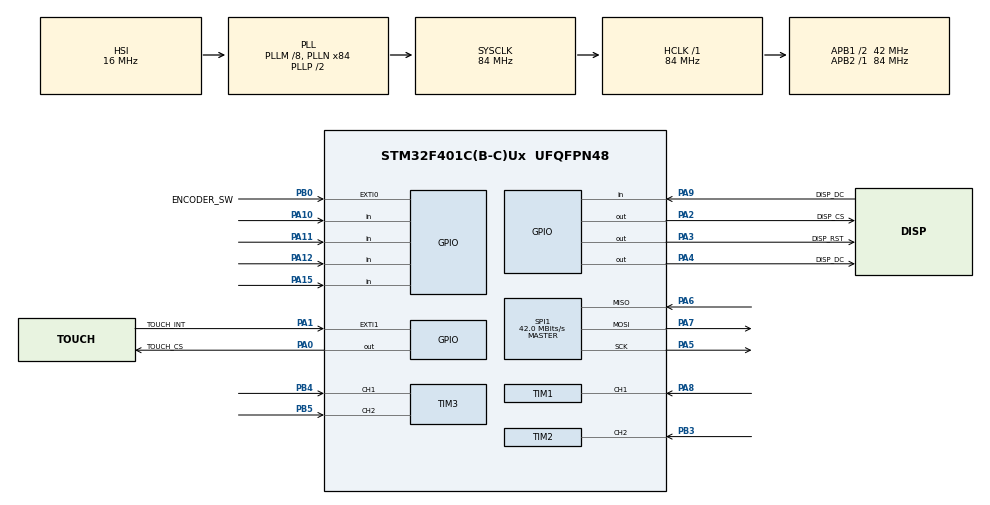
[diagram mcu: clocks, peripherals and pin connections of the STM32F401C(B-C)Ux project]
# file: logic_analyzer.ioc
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Dma.Request0=TIM1_CH1
Dma.Request1=TIM2_CH2/CH4
Dma.Request2=SPI1_TX
Dma.SPI1_TX.2.Direction=DMA_MEMORY_TO_PERIPH
Dma.SPI1_TX.2.FIFOMode=DMA_FIFOMODE_DISABLE
Dma.SPI1_TX.2.Instance=DMA2_Stream3
Dma.SPI1_TX.2.MemDataAlignment=DMA_MDATAALIGN_BYTE
Dma.SPI1_TX.2.MemInc=DMA_MINC_ENABLE
Dma.SPI1_TX.2.Mode=DMA_NORMAL
Dma.SPI1_TX.2.PeriphDataAlignment=DMA_PDATAALIGN_BYTE
Dma.SPI1_TX.2.PeriphInc=DMA_PINC_DISABLE
Dma.SPI1_TX.2.Priority=DMA_PRIORITY_LOW
Dma.TIM1_CH1.0.Direction=DMA_PERIPH_TO_MEMORY
Dma.TIM1_CH1.0.FIFOMode=DMA_FIFOMODE_DISABLE
Dma.TIM1_CH1.0.Instance=DMA2_Stream1
Dma.TIM1_CH1.0.MemDataAlignment=DMA_MDATAALIGN_BYTE
Dma.TIM1_CH1.0.MemInc=DMA_MINC_ENABLE
Dma.TIM1_CH1.0.Mode=DMA_NORMAL
Dma.TIM1_CH1.0.PeriphDataAlignment=DMA_PDATAALIGN_BYTE
Dma.TIM1_CH1.0.PeriphInc=DMA_PINC_DISABLE
Dma.TIM1_CH1.0.Priority=DMA_PRIORITY_LOW
Dma.TIM2_CH2/CH4.1.Direction=DMA_PERIPH_TO_MEMORY
Dma.TIM2_CH2/CH4.1.FIFOMode=DMA_FIFOMODE_DISABLE
Dma.TIM2_CH2/CH4.1.Instance=DMA1_Stream6
Dma.TIM2_CH2/CH4.1.MemDataAlignment=DMA_MDATAALIGN_WORD
Dma.TIM2_CH2/CH4.1.MemInc=DMA_MINC_ENABLE
Dma.TIM2_CH2/CH4.1.Mode=DMA_NORMAL
Dma.TIM2_CH2/CH4.1.PeriphDataAlignment=DMA_PDATAALIGN_WORD
Dma.TIM2_CH2/CH4.1.PeriphInc=DMA_PINC_DISABLE
Dma.TIM2_CH2/CH4.1.Priority=DMA_PRIORITY_LOW
Mcu.Family=STM32F4
Mcu.Name=STM32F401C(B-C)Ux
Mcu.Package=UFQFPN48
NVIC.DMA1_Stream6_IRQn=true\:0\:0\:false\:false\:true\:false\:true\:true
NVIC.DMA2_Stream1_IRQn=true\:0\:0\:false\:false\:true\:false\:true\:true
NVIC.DMA2_Stream3_IRQn=true\:0\:0\:false\:false\:true\:false\:true\:true
NVIC.EXTI0_IRQn=true\:0\:0\:false\:false\:true\:true\:true\:true
NVIC.EXTI1_IRQn=true\:0\:0\:false\:false\:true\:true\:true\:true
NVIC.PriorityGroup=NVIC_PRIORITYGROUP_4
NVIC.SPI1_IRQn=true\:0\:0\:false\:false\:true\:true\:true\:true
PA0-WKUP.GPIO_Label=TOUCH_CS
PA0-WKUP.Signal=GPIO_Output
PA1.GPIO_Label=TOUCH_INT
PA1.GPIO_PuPd=GPIO_PULLUP
PA1.Signal=GPXTI1
PA10.Signal=GPIO_Input
PA11.Signal=GPIO_Input
PA12.Signal=GPIO_Input
PA15.Signal=GPIO_Input
PA2.GPIO_Label=DISP_CS
PA2.Signal=GPIO_Output
PA3.GPIO_Label=DISP_RST
PA3.Signal=GPIO_Output
PA4.GPIO_Label=DISP_DC
PA4.Signal=GPIO_Output
PA5.Mode=Full_Duplex_Master
PA5.Signal=SPI1_SCK
PA6.Mode=Full_Duplex_Master
PA6.Signal=SPI1_MISO
PA7.Mode=Full_Duplex_Master
PA7.Signal=SPI1_MOSI
PA8.Signal=S_TIM1_CH1
PA9.GPIO_Label=DISP_DC
PA9.Signal=GPIO_Input
PB0.GPIO_Label=ENCODER_SW
PB0.GPIO_PuPd=GPIO_PULLUP
PB0.Signal=GPXTI0
PB3.Signal=S_TIM2_CH2
PB4.Signal=S_TIM3_CH1
PB5.Signal=S_TIM3_CH2
ProjectManager.HeapSize=0x200
ProjectManager.StackSize=0x400
ProjectManager.TargetToolchain=STM32CubeIDE
RCC.48MHZClocksFreq_Value=42000000
RCC.AHBFreq_Value=84000000
RCC.APB1CLKDivider=RCC_HCLK_DIV2
RCC.APB1Freq_Value=42000000
RCC.APB1TimFreq_Value=84000000
RCC.APB2Freq_Value=84000000
RCC.APB2TimFreq_Value=84000000
RCC.CortexFreq_Value=84000000
RCC.HCLKFreq_Value=84000000
RCC.HSE_VALUE=25000000
RCC.HSI_VALUE=16000000
RCC.LSE_VALUE=32768
RCC.PLLM=8
RCC.PLLN=84
RCC.SYSCLKFreq_VALUE=84000000
RCC.SYSCLKSource=RCC_SYSCLKSOURCE_PLLCLK
RCC.VCOOutputFreq_Value=168000000
SH.S_TIM1_CH1.0=TIM1_CH1,Input_Capture1_from_TI1
SH.S_TIM2_CH2.0=TIM2_CH2,Input_Capture2_from_TI2
SH.S_TIM3_CH1.0=TIM3_CH1,Encoder_Interface
SH.S_TIM3_CH2.0=TIM3_CH2,Encoder_Interface
SPI1.CalculateBaudRate=42.0 MBits/s
SPI1.Direction=SPI_DIRECTION_2LINES
SPI1.Mode=SPI_MODE_MASTER
SPI1.VirtualType=VM_MASTER
TIM1.Channel-Input_Capture1_from_TI1=TIM_CHANNEL_1
TIM1.ICPolarity_CH1=TIM_INPUTCHANNELPOLARITY_BOTHEDGE
TIM1.Prescaler=83
TIM2.Channel-Input_Capture2_from_TI2=TIM_CHANNEL_2
TIM2.Prescaler=83
VP_TIM1_VS_ClockSourceINT.Mode=Internal
VP_TIM2_VS_ClockSourceINT.Mode=Internal
board=custom

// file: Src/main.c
/* USER CODE BEGIN Header */
/**
  ******************************************************************************
  * @archivo           : main.c
  * @brief          : Main program body
  ******************************************************************************
  * @attention
  *
  * Copyright (c) 2026 STMicroelectronics.
  * All rights reserved.
  *
  * This software is licensed under terms that can be found in the LICENSE archivo
  * in the root directory of this software component.
  * If no LICENSE archivo comes with this software, it is provided AS-IS.
  *
  ******************************************************************************
  */
/* USER CODE END Header */
// inclusiones
#include "main.h"

// inclusiones privadas
/* USER CODE BEGIN Includes */

#include "maquina_estado.h"
#include "uart.h"
#include "captura.h"
#include "config_analizador.h"
#include "disp_driver.h"
#include "touch_driver.h"
#include "interface.h"

/* USER CODE END Includes */

// typedef privado

// definicion privada

// macro privada

// variables privadas
SPI_HandleTypeDef hspi1;
DMA_HandleTypeDef hdma_spi1_tx;

TIM_HandleTypeDef htim1;
TIM_HandleTypeDef htim2;
TIM_HandleTypeDef htim3;
DMA_HandleTypeDef hdma_tim1_ch1;
DMA_HandleTypeDef hdma_tim2_ch2_ch4;

/* USER CODE BEGIN PV */

volatile uint32_t tiempos_buffer[MAX_NUM_MUESTRAS];
volatile uint16_t estados_buffer[MAX_NUM_MUESTRAS];
/* USER CODE END PV */

// prototipos funciones privadas
void SystemClock_Config(void);
static void MX_GPIO_Init(void);
static void MX_DMA_Init(void);
static void MX_TIM1_Init(void);

static void MX_TIM2_Init(void);
static void MX_TIM3_Init(void);
static void MX_SPI1_Init(void);

// codigo de usuario privado
/* USER CODE BEGIN 0 */

void Ejecutar_POST(void) {
    // 1. Mostrar pantalla de inicio
    DISP_LlenarRect(0, 0, DISP_WIDTH, DISP_HEIGHT, COLOR_BG_DARK);
    DISP_DibujarTextoCentrado(0, 40, DISP_WIDTH, 50, "ANALIZADOR LOGICO", COLOR_UI_ACCENT, COLOR_BG_DARK);
    DISP_DibujarTextoCentrado(0, 80, DISP_WIDTH, 20, "TDII - 2026", COLOR_SIG_LABEL, COLOR_BG_DARK);
    DISP_DibujarTextoCentrado(0, 110, DISP_WIDTH, 20, "Desarrollado por:", COLOR_SIG_LABEL, COLOR_BG_DARK);
    DISP_DibujarTextoCentrado(0, 130, DISP_WIDTH, 20, "Juan Ignacio Cati", COLOR_SIG_LABEL, COLOR_BG_DARK);
    DISP_DibujarTextoCentrado(0, 150, DISP_WIDTH, 20, "Facundo Gimenez", COLOR_SIG_LABEL, COLOR_BG_DARK);

    DISP_DibujarTextoCentrado(0, 200, DISP_WIDTH, 20, "Ejecutando POST...", COLOR_UI_BTN_ACT, COLOR_BG_DARK);

    HAL_Delay(1000); // Mostrar pantalla inicialmente

    uint8_t post_fallo = 0;

    // --- PUNTO 1: Verificaciones del Nucleo ---
    if (SystemCoreClock != 84000000) {
        post_fallo = 1;
    }
    // Leer causa de reset (para debug o log, opcional en pantalla)
    uint32_t reset_cause = RCC->CSR;
    RCC->CSR |= RCC_CSR_RMVF; // Limpiar banderas de reset
    HAL_Delay(500);

    // --- PUNTO 4: Perifericos ---
    // Verificar que los relojes de DMA esten activos
    if ((RCC->AHB1ENR & RCC_AHB1ENR_DMA1EN) == 0 || (RCC->AHB1ENR & RCC_AHB1ENR_DMA2EN) == 0) {
        post_fallo = 1;
    }
    // SPI1 (Display usa SPI1)
    if ((RCC->APB2ENR & RCC_APB2ENR_SPI1EN) == 0) {
        post_fallo = 1;
    }
    HAL_Delay(500);

    // --- PUNTO 5: Especificos del Analizador ---
    // Verificar Timers 1, 2, 3
    if ((RCC->APB2ENR & RCC_APB2ENR_TIM1EN) == 0 ||
        (RCC->APB1ENR & RCC_APB1ENR_TIM2EN) == 0 ||
        (RCC->APB1ENR & RCC_APB1ENR_TIM3EN) == 0) {
        post_fallo = 1;
    }
    HAL_Delay(500);

    // Resultado final
    DISP_LlenarRect(0, 200, DISP_WIDTH, 30, COLOR_BG_DARK);
    if (post_fallo) {
        DISP_DibujarTextoCentrado(0, 200, DISP_WIDTH, 20, "POST ERROR!", COLOR_UI_REC, COLOR_BG_DARK);
        while(1); // Detener el sistema si falla el hardware critico
    } else {
        DISP_DibujarTextoCentrado(0, 200, DISP_WIDTH, 20, "POST OK!", COLOR_SIG_HIGH, COLOR_BG_DARK);
    }

    HAL_Delay(1000); // Dar tiempo a leer antes de ir al menu
}

bool Usuario_Presiono_Inicio(void) {
    extern volatile bool bandera_inicio_captura;
    if (bandera_inicio_captura) {
        bandera_inicio_captura = false;
        return true;
    }
    return false;
}

void Hardware_Configurar_Disparo(void) {
    if (config_global.flanco == 2) return; // ninguno

    // disparo software ultrarrapido por polling
    uint32_t mascara = (1 << config_global.pin_disparo);
    if (config_global.flanco == 1) {
        while((GPIOA->IDR & mascara) != 0) { } // bajada
    } else {
        while((GPIOA->IDR & mascara) == 0) { } // subida
    }
}

volatile uint8_t ocurrio_evento_toque = 0;

void HAL_GPIO_EXTI_Callback(uint16_t GPIO_Pin) {
    if (GPIO_Pin == TOUCH_INT_Pin) {
        ocurrio_evento_toque = 1;
    }
    if (GPIO_Pin == ENCODER_SW_Pin) {
        static uint32_t tiempo_presion = 0;
        uint32_t tiempo_actual = HAL_GetTick();
        if (HAL_GPIO_ReadPin(ENCODER_SW_GPIO_Port, ENCODER_SW_Pin) == GPIO_PIN_RESET) {
            tiempo_presion = tiempo_actual;
        } else {
              if (tiempo_actual - tiempo_presion > 1000) {
                  extern void AlPresionarLargoBotonEncoder(void);
                  AlPresionarLargoBotonEncoder();
              } else if (tiempo_actual - tiempo_presion > 50) {
                  extern void AlPresionarBotonEncoder(void);
                  AlPresionarBotonEncoder();
              }
        }
    }
}

void Actualizar_Pantalla_Y_Registro(void) {
    // 1. configuramos estructura de captura
    captura.canales_activos = 6;
    captura.muestras_totales = Config_ObtenerValorTamaño(conf.tamaño_buffer);

    // obtener etiquetas de la configuracion actual
    const ProtocolPinConfig_t *cfg = Config_ObtenerConfigPin(conf.protocolo);
    for (uint8_t ch = 0; ch < LOGIC_NUM_CHANNELS; ch++) {
        captura.etiquetas_canal[ch] = cfg->canales[ch].etiqueta;
    }

    // 2. extraer datos de estados_buffer al arreglo de interfaz
    for (uint16_t i = 0; i < captura.muestras_totales; i++) {
        uint16_t estado = estados_buffer[i];
        for (uint8_t ch = 0; ch < LOGIC_NUM_CHANNELS; ch++) {
            // suponemos que los canales corresponden a los primeros pines configurados
            // si estan en orden distinto, usar pin como mascara
            uint16_t mascara_pin = cfg->canales[ch].pin;
            captura.muestras[ch][i] = (estado & mascara_pin) ? 1 : 0;
        }
    }

    // 3. forzar refresco de vista de ondas
    extern uint32_t desplazamiento_t_visor;
    desplazamiento_t_visor = 0;
    visor_necesita_redibujo_completo = 1;
    extern bool ha_capturado;
    ha_capturado = true;
    estado_actual = STATE_MAIN_MENU;
    necesita_refresco = 1;
}

#define MAX_DECODED_CHARS 256
volatile uint8_t buffer_decodificado[MAX_DECODED_CHARS];
volatile uint32_t indice_decodificado = 0;

volatile uint32_t tiempos_inicio_decodificados[MAX_DECODED_CHARS];
volatile uint32_t tiempos_fin_decodificados[MAX_DECODED_CHARS];

void Guardar_Caracter_Decodificado(uint8_t c, uint32_t indice_inicio, uint32_t indice_fin) {
    if (indice_decodificado < MAX_DECODED_CHARS) {
        buffer_decodificado[indice_decodificado] = c;
        tiempos_inicio_decodificados[indice_decodificado] = tiempos_buffer[indice_inicio];
        tiempos_fin_decodificados[indice_decodificado] = tiempos_buffer[indice_fin];
        indice_decodificado++;
    }
}

void Guardar_Caracter_Decodificado_Con_Tiempos(uint8_t c, uint32_t indice_inicio, uint32_t indice_fin, uint32_t inicio_t, uint32_t fin_t) {
    if (indice_decodificado < MAX_DECODED_CHARS) {
        buffer_decodificado[indice_decodificado] = c;
        tiempos_inicio_decodificados[indice_decodificado] = inicio_t;
        tiempos_fin_decodificados[indice_decodificado] = fin_t;
        indice_decodificado++;
    }
}

/* USER CODE END 0 */

int main(void)
{

  // configuracion mcu

  // reinicio perifericos, inicializa flash y systick
  HAL_Init();

  // configurar reloj del sistema
  SystemClock_Config();

  // inicializa todos los perifericos configurados
  MX_GPIO_Init();
  MX_DMA_Init();
  MX_TIM1_Init();
  MX_TIM2_Init();
  MX_TIM3_Init();
  MX_SPI1_Init();
  /* USER CODE BEGIN 2 */
  config_global.protocolo.protocolo_activo = UART;
  config_global.protocolo.ajustes.uart.tasa_baudios = 9600;
  config_global.protocolo.ajustes.uart.bits_datos = 8;
  config_global.protocolo.ajustes.uart.paridad = UART_PARITY_SIN;
  config_global.protocolo.ajustes.uart.bits_parada = UART_STOPBITS_1;
  config_global.protocolo.ajustes.uart.lsb_primero = 1;
  config_global.protocolo.ajustes.uart.invertido = 0;

  config_global.protocolo.ajustes.spi.modo = SPI_MODE_0;
  config_global.protocolo.ajustes.spi.tamaño_datos = 8;
  config_global.protocolo.ajustes.spi.orden_bits = SPI_MSB_FIRST;
  // suponiendo que el disparo ocurre en el pin rx
  config_global.pin_disparo = 8; // pin 10 (pa10 = rx)

  Configurar_Disparo_Protocolo();
  DISP_Inicializar();
  TOUCH_Inicializar();

  // Ejecutar el POST (verificara nucleo, perifericos y timers de captura)
  Ejecutar_POST();

  DISP_LlenarRect(0, 0, 320, 240, COLOR_BG_DARK);
  // limpiar ram obsoleta
  indice_decodificado = 0;
  for (uint16_t i = 0; i < MAX_DECODED_CHARS; i++) {
      buffer_decodificado[i] = 0;
  }
  for (uint16_t i = 0; i < MAX_NUM_MUESTRAS; i++) estados_buffer[i] = 0;
  Actualizar_Pantalla_Y_Registro();
  /* USER CODE END 2 */

  // bucle infinito
  /* USER CODE BEGIN WHILE */
  while (1)
  {
    static uint32_t ultimo_conteo_encoder = 0;
    uint32_t conteo_encoder_actual = TIM3->CNT;
    if (conteo_encoder_actual != ultimo_conteo_encoder) {
        int16_t diferencia = (int16_t)conteo_encoder_actual - (int16_t)ultimo_conteo_encoder;
        if (diferencia >= 4) {
             extern void AlDesplazarEncoderDer(void);
             AlDesplazarEncoderDer();
             ultimo_conteo_encoder = conteo_encoder_actual;
        } else if (diferencia <= -4) {
             extern void AlDesplazarEncoderIzq(void);
             AlDesplazarEncoderIzq();
             ultimo_conteo_encoder = conteo_encoder_actual;
        }
    }

    Estado_FSM();

    // --- manejo del renderizado ui ---
    if (necesita_refresco) {
        switch (estado_actual) {
            case STATE_MAIN_MENU:
                Dibujar_MenuPrincipal();
                break;
            case STATE_VIEWER:
                Dibujar_Visor();
                break;
            case STATE_SETTINGS:
                Dibujar_Ajustes();
                break;
            case STATE_PROTOCOL_CONFIG:
                Dibujar_ConfigProtocolo();
                break;
            case STATE_TABLE_VIEW:
                Dibujar_VistaTabla();
                break;
        }
        necesita_refresco = 0;
    }

    // --- manejo logica tactil ---
    if (ocurrio_evento_toque || TS_State.esta_presionado || TS_State.recien_soltado) {
        TOUCH_Actualizar();

        uint16_t px = TS_State.x;
        uint16_t py = TS_State.y;
        View_t *vista_activa = &vistas[estado_actual];

        if (vista_activa->botones != NULL && vista_activa->conteoBotones > 0) {
            if (TS_State.esta_presionado) {
                for (uint8_t i = 0; i < vista_activa->conteoBotones; i++) {
                    Button_t *boton = &vista_activa->botones[i];
                    uint8_t estaba_activo = boton->estaActivo;

                    UI_ManejarActivo(boton, px, py);

                    if (boton->estaActivo != estaba_activo) {
                        UI_DibujarBoton(boton);
                    }
                }
            }

            if (TS_State.recien_soltado) {
                for (uint8_t i = 0; i < vista_activa->conteoBotones; i++) {
                    Button_t *boton = &vista_activa->botones[i];
                    if (boton->estaActivo) {
                        boton->estaActivo = 0;
                        UI_DibujarBoton(boton);
                        if (boton->alClic != NULL) {
                            boton->alClic();
                        }
                    }
                }
                ocurrio_evento_toque = 0;
            }
        }
    }
    /* USER CODE END WHILE */

  }
}

void SystemClock_Config(void)
{
  RCC_OscInitTypeDef RCC_OscInitStruct = {0};
  RCC_ClkInitTypeDef RCC_ClkInitStruct = {0};

  // configurar voltaje de salida del regulador interno main
  __HAL_RCC_PWR_CLK_ENABLE();
  __HAL_PWR_VOLTAGESCALING_CONFIG(PWR_REGULATOR_VOLTAGE_SCALE2);

  /** Initializes the RCC Oscillators according to the specified parameters
  * in the RCC_OscInitTypeDef structure.
  */
  RCC_OscInitStruct.OscillatorType = RCC_OSCILLATORTYPE_HSI;
  RCC_OscInitStruct.HSIState = RCC_HSI_ON;
  RCC_OscInitStruct.HSICalibrationValue = RCC_HSICALIBRATION_DEFAULT;
  RCC_OscInitStruct.PLL.PLLState = RCC_PLL_ON;
  RCC_OscInitStruct.PLL.PLLSource = RCC_PLLSOURCE_HSI;
  RCC_OscInitStruct.PLL.PLLM = 8;
  RCC_OscInitStruct.PLL.PLLN = 84;
  RCC_OscInitStruct.PLL.PLLP = RCC_PLLP_DIV2;
  RCC_OscInitStruct.PLL.PLLQ = 4;
  if (HAL_RCC_OscConfig(&RCC_OscInitStruct) != HAL_OK)
  {
    Error_Handler();
  }

  // inicializa los relojes de buses cpu, ahb y apb
  RCC_ClkInitStruct.ClockType = RCC_CLOCKTYPE_HCLK|RCC_CLOCKTYPE_SYSCLK
                              |RCC_CLOCKTYPE_PCLK1|RCC_CLOCKTYPE_PCLK2;
  RCC_ClkInitStruct.SYSCLKSource = RCC_SYSCLKSOURCE_PLLCLK;
  RCC_ClkInitStruct.AHBCLKDivider = RCC_SYSCLK_DIV1;
  RCC_ClkInitStruct.APB1CLKDivider = RCC_HCLK_DIV2;
  RCC_ClkInitStruct.APB2CLKDivider = RCC_HCLK_DIV1;

  if (HAL_RCC_ClockConfig(&RCC_ClkInitStruct, FLASH_LATENCY_2) != HAL_OK)
  {
    Error_Handler();
  }
}

static void MX_SPI1_Init(void)
{

  /* SPI1 parameter configuration*/
  hspi1.Instance = SPI1;
  hspi1.Init.Mode = SPI_MODE_MASTER;
  hspi1.Init.Direction = SPI_DIRECTION_2LINES;
  hspi1.Init.DataSize = SPI_DATASIZE_8BIT;
  hspi1.Init.CLKPolarity = SPI_POLARITY_LOW;
  hspi1.Init.CLKPhase = SPI_PHASE_1EDGE;
  hspi1.Init.NSS = SPI_NSS_SOFT;
  hspi1.Init.BaudRatePrescaler = SPI_BAUDRATEPRESCALER_2;
  hspi1.Init.FirstBit = SPI_FIRSTBIT_MSB;
  hspi1.Init.TIMode = SPI_TIMODE_DISABLE;
  hspi1.Init.CRCCalculation = SPI_CRCCALCULATION_DISABLE;
  hspi1.Init.CRCPolynomial = 10;
  if (HAL_SPI_Init(&hspi1) != HAL_OK)
  {
    Error_Handler();
  }

}

static void MX_TIM1_Init(void)
{

  TIM_ClockConfigTypeDef sClockSourceConfig = {0};
  TIM_MasterConfigTypeDef sMasterConfig = {0};
  TIM_IC_InitTypeDef sConfigIC = {0};

  htim1.Instance = TIM1;
  htim1.Init.Prescaler = 83;
  htim1.Init.CounterMode = TIM_COUNTERMODE_UP;
  htim1.Init.Period = 65535;
  htim1.Init.ClockDivision = TIM_CLOCKDIVISION_DIV1;
  htim1.Init.RepetitionCounter = 0;
  htim1.Init.AutoReloadPreload = TIM_AUTORELOAD_PRELOAD_DISABLE;
  if (HAL_TIM_Base_Init(&htim1) != HAL_OK)
  {
    Error_Handler();
  }
  sClockSourceConfig.ClockSource = TIM_CLOCKSOURCE_INTERNAL;
  if (HAL_TIM_ConfigClockSource(&htim1, &sClockSourceConfig) != HAL_OK)
  {
    Error_Handler();
  }
  if (HAL_TIM_IC_Init(&htim1) != HAL_OK)
  {
    Error_Handler();
  }
  sMasterConfig.MasterOutputTrigger = TIM_TRGO_RESET;
  sMasterConfig.MasterSlaveMode = TIM_MASTERSLAVEMODE_DISABLE;
  if (HAL_TIMEx_MasterConfigSynchronization(&htim1, &sMasterConfig) != HAL_OK)
  {
    Error_Handler();
  }
  sConfigIC.ICPolarity = TIM_INPUTCHANNELPOLARITY_BOTHEDGE;
  sConfigIC.ICSelection = TIM_ICSELECTION_DIRECTTI;
  sConfigIC.ICPrescaler = TIM_ICPSC_DIV1;
  sConfigIC.ICFilter = 0;
  if (HAL_TIM_IC_ConfigChannel(&htim1, &sConfigIC, TIM_CHANNEL_1) != HAL_OK)
  {
    Error_Handler();
  }

}

static void MX_TIM3_Init(void)
{
  TIM_Encoder_InitTypeDef sConfig = {0};
  TIM_MasterConfigTypeDef sMasterConfig = {0};

  htim3.Instance = TIM3;
  htim3.Init.Prescaler = 0;
  htim3.Init.CounterMode = TIM_COUNTERMODE_UP;
  htim3.Init.Period = 65535;
  htim3.Init.ClockDivision = TIM_CLOCKDIVISION_DIV1;
  htim3.Init.AutoReloadPreload = TIM_AUTORELOAD_PRELOAD_DISABLE;
  sConfig.EncoderMode = TIM_ENCODERMODE_TI12;
  sConfig.IC1Polarity = TIM_ICPOLARITY_RISING;
  sConfig.IC1Selection = TIM_ICSELECTION_DIRECTTI;
  sConfig.IC1Prescaler = TIM_ICPSC_DIV1;
  sConfig.IC1Filter = 15;
  sConfig.IC2Polarity = TIM_ICPOLARITY_RISING;
  sConfig.IC2Selection = TIM_ICSELECTION_DIRECTTI;
  sConfig.IC2Prescaler = TIM_ICPSC_DIV1;
  sConfig.IC2Filter = 15;
  if (HAL_TIM_Encoder_Init(&htim3, &sConfig) != HAL_OK)
  {
    Error_Handler();
  }
  sMasterConfig.MasterOutputTrigger = TIM_TRGO_RESET;
  sMasterConfig.MasterSlaveMode = TIM_MASTERSLAVEMODE_DISABLE;
  if (HAL_TIMEx_MasterConfigSynchronization(&htim3, &sMasterConfig) != HAL_OK)
  {
    Error_Handler();
  }
  HAL_TIM_Encoder_Start(&htim3, TIM_CHANNEL_ALL);
}

static void MX_TIM2_Init(void)
{

  TIM_ClockConfigTypeDef sClockSourceConfig = {0};
  TIM_MasterConfigTypeDef sMasterConfig = {0};
  TIM_IC_InitTypeDef sConfigIC = {0};

  htim2.Instance = TIM2;
  htim2.Init.Prescaler = 83;
  htim2.Init.CounterMode = TIM_COUNTERMODE_UP;
  htim2.Init.Period = 4294967295;
  htim2.Init.ClockDivision = TIM_CLOCKDIVISION_DIV1;
  htim2.Init.AutoReloadPreload = TIM_AUTORELOAD_PRELOAD_DISABLE;
  if (HAL_TIM_Base_Init(&htim2) != HAL_OK)
  {
    Error_Handler();
  }
  sClockSourceConfig.ClockSource = TIM_CLOCKSOURCE_INTERNAL;
  if (HAL_TIM_ConfigClockSource(&htim2, &sClockSourceConfig) != HAL_OK)
  {
    Error_Handler();
  }
  if (HAL_TIM_IC_Init(&htim2) != HAL_OK)
  {
    Error_Handler();
  }
  sMasterConfig.MasterOutputTrigger = TIM_TRGO_RESET;
  sMasterConfig.MasterSlaveMode = TIM_MASTERSLAVEMODE_DISABLE;
  if (HAL_TIMEx_MasterConfigSynchronization(&htim2, &sMasterConfig) != HAL_OK)
  {
    Error_Handler();
  }
  sConfigIC.ICPolarity = TIM_INPUTCHANNELPOLARITY_RISING;
  sConfigIC.ICSelection = TIM_ICSELECTION_DIRECTTI;
  sConfigIC.ICPrescaler = TIM_ICPSC_DIV1;
  sConfigIC.ICFilter = 0;
  if (HAL_TIM_IC_ConfigChannel(&htim2, &sConfigIC, TIM_CHANNEL_2) != HAL_OK)
  {
    Error_Handler();
  }

}

// habilitar reloj controlador dma
static void MX_DMA_Init(void)
{

  // habilitacion reloj controlador dma
  __HAL_RCC_DMA2_CLK_ENABLE();
  __HAL_RCC_DMA1_CLK_ENABLE();

  // init interrupcion dma
  // configuracion interrupcion dma1_stream6_irqn
  HAL_NVIC_SetPriority(DMA1_Stream6_IRQn, 0, 0);
  HAL_NVIC_EnableIRQ(DMA1_Stream6_IRQn);
  // configuracion interrupcion dma2_stream1_irqn
  HAL_NVIC_SetPriority(DMA2_Stream1_IRQn, 0, 0);
  HAL_NVIC_EnableIRQ(DMA2_Stream1_IRQn);
  // configuracion interrupcion dma2_stream3_irqn
  HAL_NVIC_SetPriority(DMA2_Stream3_IRQn, 0, 0);
  HAL_NVIC_EnableIRQ(DMA2_Stream3_IRQn);

}

static void MX_GPIO_Init(void)
{
  GPIO_InitTypeDef GPIO_InitStruct = {0};

  // habilitacion reloj puertos gpio
  __HAL_RCC_GPIOA_CLK_ENABLE();
  __HAL_RCC_GPIOB_CLK_ENABLE();

  // configurar nivel de salida de pin gpio
  HAL_GPIO_WritePin(GPIOA, TOUCH_CS_Pin|DISP_CS_Pin|DISP_RST_Pin|DISP_DC_Pin, GPIO_PIN_RESET);

  // configurar pines gpio : touch_cs_pin disp_cs_pin disp_rst_pin disp_dc_pin
  GPIO_InitStruct.Pin = TOUCH_CS_Pin|DISP_CS_Pin|DISP_RST_Pin|DISP_DC_Pin;
  GPIO_InitStruct.Mode = GPIO_MODE_OUTPUT_PP;
  GPIO_InitStruct.Pull = GPIO_NOPULL;
  GPIO_InitStruct.Speed = GPIO_SPEED_FREQ_LOW;
  HAL_GPIO_Init(GPIOA, &GPIO_InitStruct);

  // configurar pin gpio : touch_int_pin
  GPIO_InitStruct.Pin = TOUCH_INT_Pin;
  GPIO_InitStruct.Mode = GPIO_MODE_IT_RISING;
  GPIO_InitStruct.Pull = GPIO_PULLUP;
  HAL_GPIO_Init(TOUCH_INT_GPIO_Port, &GPIO_InitStruct);

  // configurar pines gpio : disp_dca9_pin pa10 pa11 pa12 pa15
  GPIO_InitStruct.Pin = DISP_DCA9_Pin|GPIO_PIN_10|GPIO_PIN_11|GPIO_PIN_12|GPIO_PIN_15;
  GPIO_InitStruct.Mode = GPIO_MODE_INPUT;
  GPIO_InitStruct.Pull = GPIO_PULLDOWN;
  HAL_GPIO_Init(GPIOA, &GPIO_InitStruct);

  // inicializacion interrupcion exti
  HAL_NVIC_SetPriority(EXTI1_IRQn, 0, 0);
  HAL_NVIC_EnableIRQ(EXTI1_IRQn);

  __HAL_RCC_GPIOB_CLK_ENABLE();
  // configurar pin gpio : encoder_sw_pin
  GPIO_InitStruct.Pin = ENCODER_SW_Pin;
  GPIO_InitStruct.Mode = GPIO_MODE_IT_RISING_FALLING;
  GPIO_InitStruct.Pull = GPIO_PULLUP;
  HAL_GPIO_Init(ENCODER_SW_GPIO_Port, &GPIO_InitStruct);

  HAL_NVIC_SetPriority(EXTI0_IRQn, 0, 0);
  HAL_NVIC_EnableIRQ(EXTI0_IRQn);

}

void Error_Handler(void)
{
  /* USER CODE BEGIN Error_Handler_Debug */
  // el usuario puede agregar implementacion de reporte error
  __disable_irq();
  while (1)
  {
  }
  /* USER CODE END Error_Handler_Debug */
}
